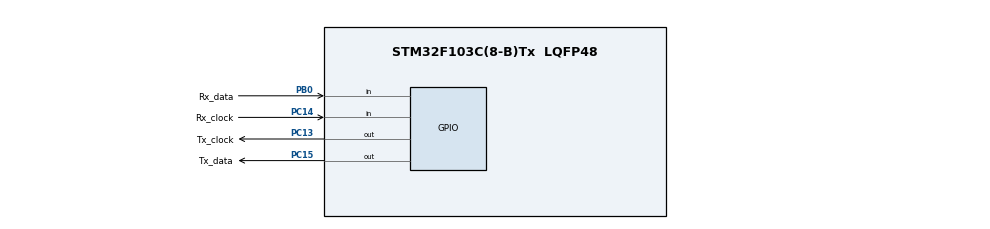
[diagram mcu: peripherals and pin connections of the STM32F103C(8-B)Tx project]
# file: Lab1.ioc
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Mcu.Family=STM32F1
Mcu.Name=STM32F103C(8-B)Tx
Mcu.Package=LQFP48
NVIC.PriorityGroup=NVIC_PRIORITYGROUP_4
NVIC.TIM2_IRQn=true\:0\:0\:false\:false\:true\:true
PA13.Mode=Serial_Wire
PA13.Signal=SYS_JTMS-SWDIO
PA14.Mode=Serial_Wire
PA14.Signal=SYS_JTCK-SWCLK
PB0.GPIO_Label=Rx_data
PB0.GPIO_PuPd=GPIO_PULLDOWN
PB0.Signal=GPIO_Input
PC13-TAMPER-RTC.GPIO_Label=Tx_clock
PC13-TAMPER-RTC.GPIO_PuPd=GPIO_NOPULL
PC13-TAMPER-RTC.GPIO_Speed=GPIO_SPEED_FREQ_LOW
PC13-TAMPER-RTC.PinState=GPIO_PIN_RESET
PC13-TAMPER-RTC.Signal=GPIO_Output
PC14-OSC32_IN.GPIO_Label=Rx_clock
PC14-OSC32_IN.GPIO_PuPd=GPIO_PULLDOWN
PC14-OSC32_IN.Signal=GPIO_Input
PC15-OSC32_OUT.GPIO_Label=Tx_data
PC15-OSC32_OUT.GPIO_PuPd=GPIO_NOPULL
PC15-OSC32_OUT.GPIO_Speed=GPIO_SPEED_FREQ_LOW
PC15-OSC32_OUT.PinState=GPIO_PIN_RESET
PC15-OSC32_OUT.Signal=GPIO_Output
ProjectManager.HeapSize=0x200
ProjectManager.StackSize=0x400
ProjectManager.TargetToolchain=MDK-ARM V5
RCC.AHBFreq_Value=8000000
RCC.APB1CLKDivider=RCC_HCLK_DIV16
RCC.APB1Freq_Value=500000
RCC.APB1TimFreq_Value=1000000
RCC.APB2CLKDivider=RCC_HCLK_DIV16
RCC.APB2Freq_Value=500000
RCC.APB2TimFreq_Value=1000000
RCC.HCLKFreq_Value=8000000
TIM2.AutoReloadPreload=TIM_AUTORELOAD_PRELOAD_ENABLE
TIM2.Period=1
TIM2.Prescaler=19999
VP_TIM2_VS_ClockSourceINT.Mode=Internal
board=custom

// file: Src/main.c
/**
  ******************************************************************************
  * @file           : main.c
  * @brief          : Main program body
  ******************************************************************************
  ** This notice applies to any and all portions of this file
  * that are not between comment pairs USER CODE BEGIN and
  * USER CODE END. Other portions of this file, whether
  * inserted by the user or by software development tools
  * are owned by their respective copyright owners.
  *
  * COPYRIGHT(c) 2020 STMicroelectronics
  *
  * Redistribution and use in source and binary forms, with or without modification,
  * are permitted provided that the following conditions are met:
  *   1. Redistributions of source code must retain the above copyright notice,
  *      this list of conditions and the following disclaimer.
  *   2. Redistributions in binary form must reproduce the above copyright notice,
  *      this list of conditions and the following disclaimer in the documentation
  *      and/or other materials provided with the distribution.
  *   3. Neither the name of STMicroelectronics nor the names of its contributors
  *      may be used to endorse or promote products derived from this software
  *      without specific prior written permission.
  *
  * THIS SOFTWARE IS PROVIDED BY THE COPYRIGHT HOLDERS AND CONTRIBUTORS "AS IS"
  * AND ANY EXPRESS OR IMPLIED WARRANTIES, INCLUDING, BUT NOT LIMITED TO, THE
  * IMPLIED WARRANTIES OF MERCHANTABILITY AND FITNESS FOR A PARTICULAR PURPOSE ARE
  * DISCLAIMED. IN NO EVENT SHALL THE COPYRIGHT HOLDER OR CONTRIBUTORS BE LIABLE
  * FOR ANY DIRECT, INDIRECT, INCIDENTAL, SPECIAL, EXEMPLARY, OR CONSEQUENTIAL
  * DAMAGES (INCLUDING, BUT NOT LIMITED TO, PROCUREMENT OF SUBSTITUTE GOODS OR
  * SERVICES; LOSS OF USE, DATA, OR PROFITS; OR BUSINESS INTERRUPTION) HOWEVER
  * CAUSED AND ON ANY THEORY OF LIABILITY, WHETHER IN CONTRACT, STRICT LIABILITY,
  * OR TORT (INCLUDING NEGLIGENCE OR OTHERWISE) ARISING IN ANY WAY OUT OF THE USE
  * OF THIS SOFTWARE, EVEN IF ADVISED OF THE POSSIBILITY OF SUCH DAMAGE.
  *
  ******************************************************************************
  */
#include "main.h"
#include "stm32f1xx_hal.h"

/* USER CODE BEGIN Includes */
#include <stdint.h>
/* USER CODE END Includes */

TIM_HandleTypeDef htim2;

/* USER CODE BEGIN PV */
/* Private variables ---------------------------------------------------------*/
uint8_t phy_to_dll_rx_bus = 0; // saves the data recived from the phy to phy and moves it to the dll_rx

uint8_t phy_to_dll_rx_bus_valid = 0; // checks if there is data to be transferd to the dll_rx from the phy layer

uint8_t dll_to_phy_tx_bus = 0; // saves the original data we want to transfer to the phy layer from the dll tx.

uint8_t dll_to_phy_tx_bus_valid = 0; // checks if theres data allready transferd from the dll to the [hy layer

uint8_t phy_tx_busy = 0; // checks if there is data being transmited at the moment.

int delay =0;

static uint8_t Rx_value = 0;
static uint8_t Tx_value = 0;
static uint8_t Rx_clock_value ;
static uint8_t Tx_clock_value ;
static uint16_t t_data =0;
uint8_t data=0;

uint8_t senders[] = {201,0,192,0,223};

/* USER CODE END PV */

void SystemClock_Config(void);
static void MX_GPIO_Init(void);
static void MX_TIM2_Init(void);

/* USER CODE BEGIN PFP */
/* Private function prototypes -----------------------------------------------*/

/* USER CODE END PFP */

/* USER CODE BEGIN 0 */
void dll_TX()
{
	static int space=0;
	if (!phy_tx_busy && !dll_to_phy_tx_bus_valid)
	{
		if (delay == 0)
		{

			dll_to_phy_tx_bus = senders[space]; // takes diffrent data from the array in each run
			dll_to_phy_tx_bus_valid =1;
			delay = 500; // input random number;
			space++;
		}
		else
			delay --;
	}
	space = space==5? 0:space; // reset the space if we finished all of the array
}

void dll_RX()
{
	if ( phy_to_dll_rx_bus_valid)
	{
		t_data = phy_to_dll_rx_bus; // takes transferd data from the bus
		phy_to_dll_rx_bus_valid =0; // reset the valid that means that we took the data
	}

}

void phy_Tx()
{
	static uint16_t shifter =1; // for the masking in order to iso the bit
	static uint8_t transfer = 0; // var to the masked bit
	static uint8_t p_clock_val = 0; // saves the prev clock value in order to check that we are in rising edge
	static uint8_t temp=0;	// takes the data from the bus
	if(dll_to_phy_tx_bus_valid ){  // checkes if we are in a new byte
		temp = dll_to_phy_tx_bus;
		phy_tx_busy = 1;
		dll_to_phy_tx_bus_valid =0;
		HAL_TIM_Base_Start(&htim2); //turn on timer
		HAL_TIM_Base_Start_IT(&htim2);
	}
	Tx_clock_value = HAL_GPIO_ReadPin(Tx_clock_GPIO_Port, Tx_clock_Pin); // reads the current value of the clcok
	if (Tx_clock_value && (!p_clock_val)) // checks if we are in a rising edge
	{
		if (shifter ==1) // first bit
		{

			transfer = ((dll_to_phy_tx_bus) &	(shifter));
			if (transfer == shifter)
			{
				HAL_GPIO_WritePin (Tx_data_GPIO_Port, Tx_data_Pin, GPIO_PIN_SET);	//inserts one to the data
				Tx_value =1;
			}
			else
			{
				HAL_GPIO_WritePin (Tx_data_GPIO_Port, Tx_data_Pin, GPIO_PIN_RESET); // inserts zero to data
				Tx_value =0;
			}
			shifter = shifter*2;
		}
		else if ( shifter > 128) // after the last bit
		{
			HAL_TIM_Base_Stop(&htim2); //turn off timer
			HAL_TIM_Base_Stop_IT(&htim2); //turn off interupts
			HAL_GPIO_WritePin(Tx_clock_GPIO_Port, Tx_clock_Pin ,GPIO_PIN_RESET); //set clock to zero
			phy_tx_busy =0; // reset busy
			shifter =1; // reset the masker
		}
		else
		{
			transfer = ((dll_to_phy_tx_bus) &	(shifter)); // for the reset of the bits
			if (transfer == shifter){
				HAL_GPIO_WritePin (Tx_data_GPIO_Port, Tx_data_Pin, GPIO_PIN_SET);
				Tx_value =1;
			}
			else{
				HAL_GPIO_WritePin (Tx_data_GPIO_Port, Tx_data_Pin, GPIO_PIN_RESET);
				Tx_value =0;
			}
			shifter = shifter*2;
		}
	}
	p_clock_val = Tx_clock_value; // current clock into previos clock
}

void phy_Rx()
{

	static uint16_t s_counter =0; // counter for inserting the number
	static uint8_t pr_clock_val=1; // prev clock
	Rx_clock_value = HAL_GPIO_ReadPin(Rx_clock_GPIO_Port, Rx_clock_Pin); // reads the current clock value
	if ( (!Rx_clock_value) && pr_clock_val) // checks that we are in falling edge
	{
		Rx_value = HAL_GPIO_ReadPin (Rx_data_GPIO_Port, Rx_data_Pin); // reads the data from the pin
		phy_to_dll_rx_bus += Rx_value << s_counter;	// moves the bit for the correct spot and inserts in to the bus
		s_counter ++;
	}
	pr_clock_val = Rx_clock_value;
	if (s_counter == 8){
		s_counter = 0;
		phy_to_dll_rx_bus_valid =1;
	}
}

void phy_layer()
{
	phy_Tx();
	phy_Rx();

}

void dll_layer()
{
	dll_TX();
	dll_RX();
}

/* USER CODE END 0 */

int main(void)
{

  /* MCU Configuration----------------------------------------------------------*/

  /* Reset of all peripherals, Initializes the Flash interface and the Systick. */
  HAL_Init();

  /* Configure the system clock */
  SystemClock_Config();

  /* Initialize all configured peripherals */
  MX_GPIO_Init();
  MX_TIM2_Init();
  /* USER CODE BEGIN 2 */
	HAL_GPIO_WritePin(Tx_clock_GPIO_Port, Tx_clock_Pin ,GPIO_PIN_RESET); //set clock to zero
  /* USER CODE END 2 */

  /* Infinite loop */
  /* USER CODE BEGIN WHILE */

  while (1)
  {
		dll_layer();
		phy_layer();

  /* USER CODE END WHILE */

  }

}

void SystemClock_Config(void)
{

  RCC_OscInitTypeDef RCC_OscInitStruct;
  RCC_ClkInitTypeDef RCC_ClkInitStruct;

    /**Initializes the CPU, AHB and APB busses clocks
    */
  RCC_OscInitStruct.OscillatorType = RCC_OSCILLATORTYPE_HSI;
  RCC_OscInitStruct.HSIState = RCC_HSI_ON;
  RCC_OscInitStruct.HSICalibrationValue = 16;
  RCC_OscInitStruct.PLL.PLLState = RCC_PLL_NONE;
  if (HAL_RCC_OscConfig(&RCC_OscInitStruct) != HAL_OK)
  {
    _Error_Handler(__FILE__, __LINE__);
  }

    /**Initializes the CPU, AHB and APB busses clocks
    */
  RCC_ClkInitStruct.ClockType = RCC_CLOCKTYPE_HCLK|RCC_CLOCKTYPE_SYSCLK
                              |RCC_CLOCKTYPE_PCLK1|RCC_CLOCKTYPE_PCLK2;
  RCC_ClkInitStruct.SYSCLKSource = RCC_SYSCLKSOURCE_HSI;
  RCC_ClkInitStruct.AHBCLKDivider = RCC_SYSCLK_DIV1;
  RCC_ClkInitStruct.APB1CLKDivider = RCC_HCLK_DIV16;
  RCC_ClkInitStruct.APB2CLKDivider = RCC_HCLK_DIV16;

  if (HAL_RCC_ClockConfig(&RCC_ClkInitStruct, FLASH_LATENCY_0) != HAL_OK)
  {
    _Error_Handler(__FILE__, __LINE__);
  }

    /**Configure the Systick interrupt time
    */
  HAL_SYSTICK_Config(HAL_RCC_GetHCLKFreq()/1000);

    /**Configure the Systick
    */
  HAL_SYSTICK_CLKSourceConfig(SYSTICK_CLKSOURCE_HCLK);

  /* SysTick_IRQn interrupt configuration */
  HAL_NVIC_SetPriority(SysTick_IRQn, 0, 0);
}

/* TIM2 init function */
static void MX_TIM2_Init(void)
{

  TIM_ClockConfigTypeDef sClockSourceConfig;
  TIM_MasterConfigTypeDef sMasterConfig;

  htim2.Instance = TIM2;
  htim2.Init.Prescaler = 19999;
  htim2.Init.CounterMode = TIM_COUNTERMODE_UP;
  htim2.Init.Period = 1;
  htim2.Init.ClockDivision = TIM_CLOCKDIVISION_DIV1;
  htim2.Init.AutoReloadPreload = TIM_AUTORELOAD_PRELOAD_ENABLE;
  if (HAL_TIM_Base_Init(&htim2) != HAL_OK)
  {
    _Error_Handler(__FILE__, __LINE__);
  }

  sClockSourceConfig.ClockSource = TIM_CLOCKSOURCE_INTERNAL;
  if (HAL_TIM_ConfigClockSource(&htim2, &sClockSourceConfig) != HAL_OK)
  {
    _Error_Handler(__FILE__, __LINE__);
  }

  sMasterConfig.MasterOutputTrigger = TIM_TRGO_RESET;
  sMasterConfig.MasterSlaveMode = TIM_MASTERSLAVEMODE_DISABLE;
  if (HAL_TIMEx_MasterConfigSynchronization(&htim2, &sMasterConfig) != HAL_OK)
  {
    _Error_Handler(__FILE__, __LINE__);
  }

}

/** Configure pins as
        * Analog
        * Input
        * Output
        * EVENT_OUT
        * EXTI
*/
static void MX_GPIO_Init(void)
{

  GPIO_InitTypeDef GPIO_InitStruct;

  /* GPIO Ports Clock Enable */
  __HAL_RCC_GPIOC_CLK_ENABLE();
  __HAL_RCC_GPIOB_CLK_ENABLE();
  __HAL_RCC_GPIOA_CLK_ENABLE();

  /*Configure GPIO pin Output Level */
  HAL_GPIO_WritePin(GPIOC, Tx_clock_Pin|Tx_data_Pin, GPIO_PIN_RESET);

  /*Configure GPIO pins : Tx_clock_Pin Tx_data_Pin */
  GPIO_InitStruct.Pin = Tx_clock_Pin|Tx_data_Pin;
  GPIO_InitStruct.Mode = GPIO_MODE_OUTPUT_PP;
  GPIO_InitStruct.Pull = GPIO_NOPULL;
  GPIO_InitStruct.Speed = GPIO_SPEED_FREQ_LOW;
  HAL_GPIO_Init(GPIOC, &GPIO_InitStruct);

  /*Configure GPIO pin : Rx_clock_Pin */
  GPIO_InitStruct.Pin = Rx_clock_Pin;
  GPIO_InitStruct.Mode = GPIO_MODE_INPUT;
  GPIO_InitStruct.Pull = GPIO_PULLDOWN;
  HAL_GPIO_Init(Rx_clock_GPIO_Port, &GPIO_InitStruct);

  /*Configure GPIO pin : Rx_data_Pin */
  GPIO_InitStruct.Pin = Rx_data_Pin;
  GPIO_InitStruct.Mode = GPIO_MODE_INPUT;
  GPIO_InitStruct.Pull = GPIO_PULLDOWN;
  HAL_GPIO_Init(Rx_data_GPIO_Port, &GPIO_InitStruct);

}

void _Error_Handler(char *file, int line)
{
  while(1)
  {
  }
}

/************************ (C) COPYRIGHT STMicroelectronics *****END OF FILE****/
